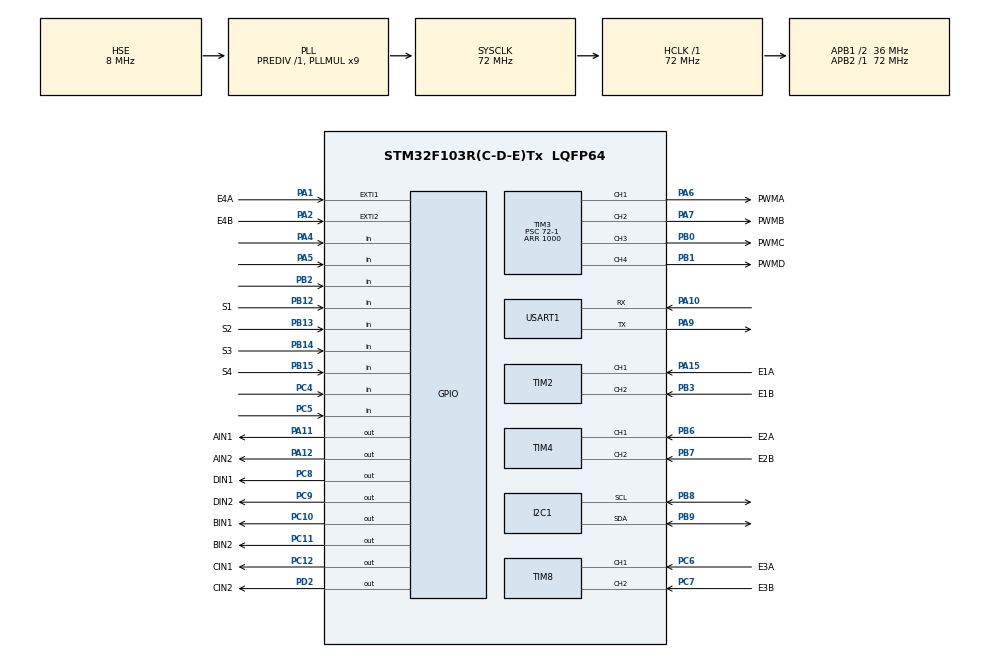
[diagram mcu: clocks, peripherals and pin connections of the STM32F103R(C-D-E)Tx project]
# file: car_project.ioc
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I2C1.I2C_Mode=I2C_Fast
Mcu.Family=STM32F1
Mcu.Name=STM32F103R(C-D-E)Tx
Mcu.Package=LQFP64
NVIC.EXTI1_IRQn=true\:0\:0\:false\:false\:true\:true\:true\:true
NVIC.EXTI2_IRQn=true\:0\:0\:false\:false\:true\:true\:true\:true
NVIC.PriorityGroup=NVIC_PRIORITYGROUP_4
NVIC.TIM1_UP_IRQn=true\:0\:0\:false\:false\:true\:true\:true\:true
PA1.GPIO_Label=E4A
PA1.GPIO_ModeDefaultEXTI=GPIO_MODE_IT_RISING
PA1.GPIO_PuPd=GPIO_PULLDOWN
PA1.Signal=GPXTI1
PA10.Mode=Asynchronous
PA10.Signal=USART1_RX
PA11.GPIO_Label=AIN1
PA11.Signal=GPIO_Output
PA12.GPIO_Label=AIN2
PA12.Signal=GPIO_Output
PA13.Mode=Serial_Wire
PA13.Signal=SYS_JTMS-SWDIO
PA14.Mode=Serial_Wire
PA14.Signal=SYS_JTCK-SWCLK
PA15.GPIO_Label=E1A
PA15.Signal=S_TIM2_CH1_ETR
PA2.GPIO_Label=E4B
PA2.GPIO_ModeDefaultEXTI=GPIO_MODE_IT_RISING
PA2.GPIO_PuPd=GPIO_PULLDOWN
PA2.Signal=GPXTI2
PA4.Signal=GPIO_Input
PA5.Signal=GPIO_Input
PA6.GPIO_Label=PWMA
PA6.Signal=S_TIM3_CH1
PA7.GPIO_Label=PWMB
PA7.Signal=S_TIM3_CH2
PA9.Mode=Asynchronous
PA9.Signal=USART1_TX
PB0.GPIO_Label=PWMC
PB0.Signal=S_TIM3_CH3
PB1.GPIO_Label=PWMD
PB1.Signal=S_TIM3_CH4
PB12.GPIO_Label=S1
PB12.GPIO_PuPd=GPIO_PULLDOWN
PB12.Signal=GPIO_Input
PB13.GPIO_Label=S2
PB13.GPIO_PuPd=GPIO_PULLDOWN
PB13.Signal=GPIO_Input
PB14.GPIO_Label=S3
PB14.GPIO_PuPd=GPIO_PULLDOWN
PB14.Signal=GPIO_Input
PB15.GPIO_Label=S4
PB15.GPIO_PuPd=GPIO_PULLDOWN
PB15.Signal=GPIO_Input
PB2.Signal=GPIO_Input
PB3.GPIO_Label=E1B
PB3.Signal=S_TIM2_CH2
PB6.GPIO_Label=E2A
PB6.Signal=S_TIM4_CH1
PB7.GPIO_Label=E2B
PB7.Signal=S_TIM4_CH2
PB8.Mode=I2C
PB8.Signal=I2C1_SCL
PB9.Mode=I2C
PB9.Signal=I2C1_SDA
PC10.GPIO_Label=BIN1
PC10.Signal=GPIO_Output
PC11.GPIO_Label=BIN2
PC11.Signal=GPIO_Output
PC12.GPIO_Label=CIN1
PC12.Signal=GPIO_Output
PC4.Signal=GPIO_Input
PC5.Signal=GPIO_Input
PC6.GPIO_Label=E3A
PC6.Signal=S_TIM8_CH1
PC7.GPIO_Label=E3B
PC7.Signal=S_TIM8_CH2
PC8.GPIO_Label=DIN1
PC8.Signal=GPIO_Output
PC9.GPIO_Label=DIN2
PC9.Signal=GPIO_Output
PD0-OSC_IN.Mode=HSE-External-Oscillator
PD0-OSC_IN.Signal=RCC_OSC_IN
PD1-OSC_OUT.Mode=HSE-External-Oscillator
PD1-OSC_OUT.Signal=RCC_OSC_OUT
PD2.GPIO_Label=CIN2
PD2.GPIO_PuPd=GPIO_PULLDOWN
PD2.Signal=GPIO_Output
ProjectManager.HeapSize=0x200
ProjectManager.StackSize=0x400
ProjectManager.TargetToolchain=CMake
RCC.AHBFreq_Value=72000000
RCC.APB1CLKDivider=RCC_HCLK_DIV2
RCC.APB1Freq_Value=36000000
RCC.APB1TimFreq_Value=72000000
RCC.APB2Freq_Value=72000000
RCC.APB2TimFreq_Value=72000000
RCC.HCLKFreq_Value=72000000
RCC.PLLMUL=RCC_PLL_MUL9
RCC.PLLSourceVirtual=RCC_PLLSOURCE_HSE
RCC.SYSCLKFreq_VALUE=72000000
RCC.SYSCLKSource=RCC_SYSCLKSOURCE_PLLCLK
RCC.USBFreq_Value=72000000
SH.S_TIM2_CH1_ETR.0=TIM2_CH1,Encoder_Interface
SH.S_TIM2_CH2.0=TIM2_CH2,Encoder_Interface
SH.S_TIM3_CH1.0=TIM3_CH1,PWM Generation1 CH1
SH.S_TIM3_CH2.0=TIM3_CH2,PWM Generation2 CH2
SH.S_TIM3_CH3.0=TIM3_CH3,PWM Generation3 CH3
SH.S_TIM3_CH4.0=TIM3_CH4,PWM Generation4 CH4
SH.S_TIM4_CH1.0=TIM4_CH1,Encoder_Interface
SH.S_TIM4_CH2.0=TIM4_CH2,Encoder_Interface
SH.S_TIM8_CH1.0=TIM8_CH1,Encoder_Interface
SH.S_TIM8_CH2.0=TIM8_CH2,Encoder_Interface
TIM1.AutoReloadPreload=TIM_AUTORELOAD_PRELOAD_ENABLE
TIM1.Period=200
TIM1.Prescaler=7199
TIM2.IC1Filter=15
TIM2.IC2Filter=15
TIM3.Channel-PWM\ Generation1\ CH1=TIM_CHANNEL_1
TIM3.Channel-PWM\ Generation2\ CH2=TIM_CHANNEL_2
TIM3.Channel-PWM\ Generation3\ CH3=TIM_CHANNEL_3
TIM3.Channel-PWM\ Generation4\ CH4=TIM_CHANNEL_4
TIM3.Period=1000
TIM3.Prescaler=72-1
TIM4.IC2Filter=15
USART1.VirtualMode=VM_ASYNC
VP_TIM1_VS_ClockSourceINT.Mode=Internal
VP_TIM3_VS_ClockSourceINT.Mode=Internal
board=custom

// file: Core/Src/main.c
/* USER CODE BEGIN Header */
/**
  ******************************************************************************
  * @file           : main.c
  * @brief          : Main program body
  ******************************************************************************
  * @attention
  *
  * Copyright (c) 2026 STMicroelectronics.
  * All rights reserved.
  *
  * This software is licensed under terms that can be found in the LICENSE file
  * in the root directory of this software component.
  * If no LICENSE file comes with this software, it is provided AS-IS.
  *
  ******************************************************************************
  */
/* USER CODE END Header */
#include "main.h"
#include "i2c.h"
#include "tim.h"
#include "usart.h"
#include "gpio.h"

/* USER CODE BEGIN Includes */
#include "motor.h"
#include "oled.h"
#include <stdio.h>
#include "mecanum.h"
#include "ui.h"
/* USER CODE END Includes */

void SystemClock_Config(void);

/* USER CODE BEGIN 0 */
/**
  * @brief  TIM1 更新中断回调函数
  * @note   由 HAL_TIM_IRQHandler(&htim1) 链式调用
  *         TIM1 配置：PSC=7199, ARR=200, 约20ms触发一次
  *         在此读取四个编码器计数值并更新电机转速
  */

void HAL_TIM_PeriodElapsedCallback(TIM_HandleTypeDef *htim)
{
    if (htim->Instance == TIM1) {

        motor_speed_update();

        if (ui_motion_active) {
            Motion_Control(ui_params.Vx, ui_params.Vy, ui_params.w);
        } else {
            Motion_Control(0.0f, 0.0f, 0.0f);
        }

    }
}

/* USER CODE END 0 */

int main(void)
{

  /* MCU Configuration--------------------------------------------------------*/

  /* Reset of all peripherals, Initializes the Flash interface and the Systick. */
  HAL_Init();

  /* Configure the system clock */
  SystemClock_Config();

  /* Initialize all configured peripherals */
  MX_GPIO_Init();
  MX_TIM3_Init();
  MX_I2C1_Init();
  MX_TIM2_Init();
  MX_TIM4_Init();
  MX_TIM8_Init();
  MX_USART1_UART_Init();
  MX_TIM1_Init();
  /* USER CODE BEGIN 2 */
  motor_init();
  HAL_Delay(20);
  OLED_Init();
  UI_Init();
  /* USER CODE END 2 */

  /* Infinite loop */
  while (1)
  {

    /* USER CODE BEGIN 3 */
    UI_Update();
    HAL_Delay(50);
  }
  /* USER CODE END 3 */
}

void SystemClock_Config(void)
{
  RCC_OscInitTypeDef RCC_OscInitStruct = {0};
  RCC_ClkInitTypeDef RCC_ClkInitStruct = {0};

  /** Initializes the RCC Oscillators according to the specified parameters
  * in the RCC_OscInitTypeDef structure.
  */
  RCC_OscInitStruct.OscillatorType = RCC_OSCILLATORTYPE_HSE;
  RCC_OscInitStruct.HSEState = RCC_HSE_ON;
  RCC_OscInitStruct.HSEPredivValue = RCC_HSE_PREDIV_DIV1;
  RCC_OscInitStruct.HSIState = RCC_HSI_ON;
  RCC_OscInitStruct.PLL.PLLState = RCC_PLL_ON;
  RCC_OscInitStruct.PLL.PLLSource = RCC_PLLSOURCE_HSE;
  RCC_OscInitStruct.PLL.PLLMUL = RCC_PLL_MUL9;
  if (HAL_RCC_OscConfig(&RCC_OscInitStruct) != HAL_OK)
  {
    Error_Handler();
  }

  /** Initializes the CPU, AHB and APB buses clocks
  */
  RCC_ClkInitStruct.ClockType = RCC_CLOCKTYPE_HCLK|RCC_CLOCKTYPE_SYSCLK
                              |RCC_CLOCKTYPE_PCLK1|RCC_CLOCKTYPE_PCLK2;
  RCC_ClkInitStruct.SYSCLKSource = RCC_SYSCLKSOURCE_PLLCLK;
  RCC_ClkInitStruct.AHBCLKDivider = RCC_SYSCLK_DIV1;
  RCC_ClkInitStruct.APB1CLKDivider = RCC_HCLK_DIV2;
  RCC_ClkInitStruct.APB2CLKDivider = RCC_HCLK_DIV1;

  if (HAL_RCC_ClockConfig(&RCC_ClkInitStruct, FLASH_LATENCY_2) != HAL_OK)
  {
    Error_Handler();
  }
}

void Error_Handler(void)
{
  __disable_irq();
  while (1)
  {
  }
}
